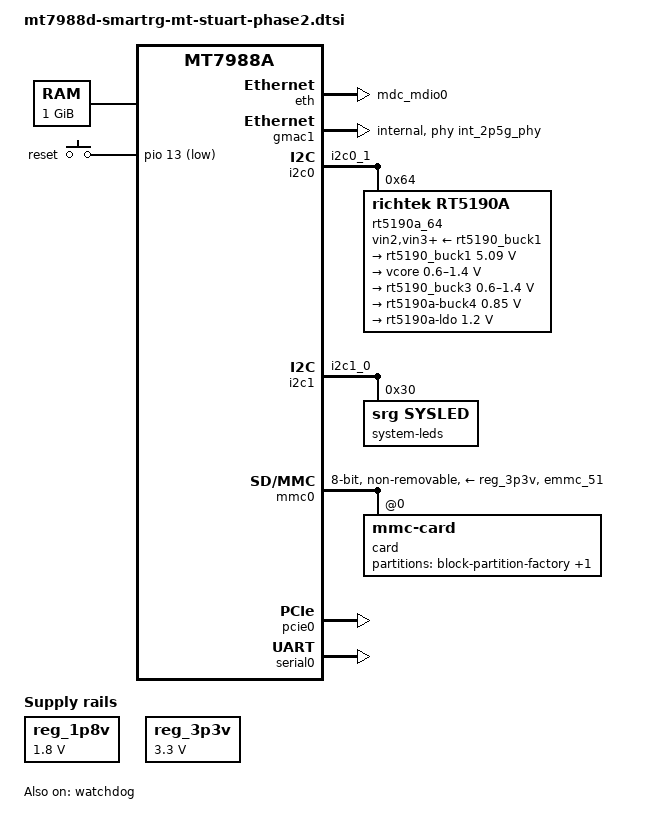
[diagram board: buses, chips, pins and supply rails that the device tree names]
// SPDX-License-Identifier: (GPL-2.0 OR MIT)
/*
 * Copyright (C) 2024 SmartRG Inc.
 * Author: Chad Monroe <chad.monroe@smartrg.com>
 */

/dts-v1/;
#include "mt7988a.dtsi"
#include <dt-bindings/gpio/gpio.h>
#include <dt-bindings/input/input.h>
#include <dt-bindings/leds/common.h>
#include <dt-bindings/pinctrl/mt65xx.h>
#include <dt-bindings/regulator/richtek,rt5190a-regulator.h>

/ {
	aliases {
		serial0 = &serial0;
		label-mac-device = &gmac1;
		led-boot = &led_sys_green;
		led-failsafe = &led_sys_blue;
		led-running = &led_sys_white;
		led-upgrade = &led_sys_red;
	};

	chosen {
		bootargs = "console=ttyS0,115200n1 earlycon=uart8250,mmio32,0x11000000";
		stdout-path = "serial0:115200n8";
		linux,usable-memory-range = <0x0 0x40000000 0x0 0x3fc00000>;
	};

	cpus {
		/delete-node/cpu@3;
	};

	memory@40000000 {
		reg = <0x0 0x40000000 0x0 0x40000000>;
		device_type = "memory";
	};

	reserved-memory {
		#address-cells = <2>;
		#size-cells = <2>;
		ranges;

		/delete-node/ramoops@42ff0000;

		bootdata_reserved: bootdata@45000000 {
			no-map;
			reg = <0x0 0x45000000 0x0 0x00001000>;
		};

		ramoops_reserved: ramoops@45001000 {
			no-map;
			compatible = "ramoops";
			reg = <0x0 0x45001000 0x0 0x00140000>;
			ftrace-size = <0x20000>;
			record-size = <0x20000>;
			console-size = <0x20000>;
			pmsg-size = <0x80000>;
		};
	};

	bootdata {
		compatible = "bootdata";
		memory-region = <&bootdata_reserved>;
	};

	reg_1p8v: regulator-1p8v {
		compatible = "regulator-fixed";
		regulator-name = "fixed-1.8V";
		regulator-min-microvolt = <1800000>;
		regulator-max-microvolt = <1800000>;
		regulator-boot-on;
		regulator-always-on;
	};

	reg_3p3v: regulator-3p3v {
		compatible = "regulator-fixed";
		regulator-name = "fixed-3.3V";
		regulator-min-microvolt = <3300000>;
		regulator-max-microvolt = <3300000>;
		regulator-boot-on;
		regulator-always-on;
	};

	gpio-keys {
		compatible = "gpio-keys";
		pinctrl-names = "default";
		pinctrl-0 = <&button_pins>;

		button-reset {
			label = "reset";
			linux,code = <KEY_RESTART>;
			gpios = <&pio 13 GPIO_ACTIVE_LOW>;
		};
	};
};

&cpu0 {
	proc-supply = <&rt5190_buck3>;
};

&cpu1 {
	proc-supply = <&rt5190_buck3>;
};

&cpu2 {
	proc-supply = <&rt5190_buck3>;
};

&cci {
	proc-supply = <&rt5190_buck3>;
};

&eth {
	pinctrl-0 = <&mdio0_pins>;
	pinctrl-names = "default";
	status = "okay";
};

&gmac1 {
	nvmem-cells = <&macaddr 0x1>;
	nvmem-cell-names = "mac-address";
	label = "wan";
	phy-mode = "internal";
	phy = <&int_2p5g_phy>;

	status = "okay";
};

&int_2p5g_phy {
	pinctrl-names = "i2p5gbe-led";
	pinctrl-0 = <&gbe1_led0_pins>;
};

&i2c0 {
	pinctrl-names = "default";
	pinctrl-0 = <&i2c0_pins>;
	status = "okay";

	rt5190a_64: rt5190a@64 {
		compatible = "richtek,rt5190a";
		reg = <0x64>;
		/*interrupts-extended = <&gpio26 0 IRQ_TYPE_LEVEL_LOW>;*/
		vin2-supply = <&rt5190_buck1>;
		vin3-supply = <&rt5190_buck1>;
		vin4-supply = <&rt5190_buck1>;

		regulators {
			rt5190_buck1: buck1 {
				regulator-name = "rt5190a-buck1";
				regulator-min-microvolt = <5090000>;
				regulator-max-microvolt = <5090000>;
				regulator-allowed-modes =
				<RT5190A_OPMODE_AUTO RT5190A_OPMODE_FPWM>;
				regulator-boot-on;
				regulator-always-on;
			};
			buck2 {
				regulator-name = "vcore";
				regulator-min-microvolt = <600000>;
				regulator-max-microvolt = <1400000>;
				regulator-boot-on;
				regulator-always-on;
			};
			rt5190_buck3: buck3 {
				regulator-name = "vproc";
				regulator-min-microvolt = <600000>;
				regulator-max-microvolt = <1400000>;
				regulator-boot-on;
				regulator-always-on; /* FIXME: need this for some reason to keep regulator on */
			};
			buck4 {
				regulator-name = "rt5190a-buck4";
				regulator-min-microvolt = <850000>;
				regulator-max-microvolt = <850000>;
				regulator-allowed-modes =
				<RT5190A_OPMODE_AUTO RT5190A_OPMODE_FPWM>;
				regulator-boot-on;
				regulator-always-on;
			};
			ldo {
				regulator-name = "rt5190a-ldo";
				regulator-min-microvolt = <1200000>;
				regulator-max-microvolt = <1200000>;
				regulator-boot-on;
				regulator-always-on;
			};
		};
	};
};

&i2c1 {
	pinctrl-names = "default";
	pinctrl-0 = <&i2c1_pins>;
	status = "okay";

	system-leds@30 {
		compatible = "srg,sysled";
		reg = <0x30>;
		#address-cells = <1>;
		#size-cells = <0>;

		led_sys_red: system_red {
			label = "red";
			reg = <1>;
		};

		led_sys_green: system_green {
			label = "green";
			reg = <2>;
		};

		led_sys_blue: system_blue {
			label = "blue";
			reg = <3>;
		};

		led_sys_white: system_white {
			label = "white";
			reg = <4>;
		};
	};
};

&mmc0 {
	pinctrl-names = "default", "state_uhs";
	pinctrl-0 = <&mmc0_pins_emmc_51>;
	pinctrl-1 = <&mmc0_pins_emmc_51>;
	bus-width = <8>;
	max-frequency = <200000000>;
	cap-mmc-highspeed;
	mmc-hs200-1_8v;
	vmmc-supply = <&reg_3p3v>;
	vqmmc-supply = <&reg_1p8v>;
	non-removable;
	no-sd;
	no-sdio;
	status = "okay";
	#address-cells = <1>;
	#size-cells = <0>;

	card@0 {
		#address-cells = <0>;
		#size-cells = <0>;
		compatible = "mmc-card";
		reg = <0>;

		block {
			compatible = "block-device";

			partitions {
				block-partition-factory {
					partname = "factory";

					nvmem-layout {
						compatible = "fixed-layout";
						#address-cells = <1>;
						#size-cells = <1>;

						eeprom_factory_0: eeprom@0 {
							reg = <0x0 0x1e00>;
						};

						precal_factory_1e10: precal@1e10 {
							reg = <0x1e10 0xedfd0>;
						};
					};
				};

				block-partition-mfginfo {
					partname = "mfginfo";

					nvmem-layout {
						compatible = "adtran,mfginfo";

						macaddr: mfg-mac {
							#nvmem-cell-cells = <1>;
						};
					};
				};
			};
		};
	};
};

&pcie0 {
	pinctrl-names = "default";
	pinctrl-0 = <&pcie0_pins>;
	status = "okay";

	pcie@0,0 {
		#address-cells = <3>;
		#size-cells = <2>;
		reg = <0x0000 0 0 0 0>;

		radio0: mt7996@0,0 {
			reg = <0x0000 0 0 0 0>;
			#address-cells = <1>;
			#size-cells = <0>;
			nvmem-cells = <&eeprom_factory_0>, <&precal_factory_1e10>;
			nvmem-cell-names = "eeprom", "precal";

			band@0 {
				/* 2.4 GHz */
				reg = <0>;
				nvmem-cells = <&macaddr 0x4>;
				nvmem-cell-names = "mac-address";
			};

			band@1 {
				/* 5 GHz */
				reg = <1>;
				nvmem-cells = <&macaddr 0xa>;
				nvmem-cell-names = "mac-address";
			};

			band@2 {
				/* 6 GHz */
				reg = <2>;
				nvmem-cells = <&macaddr 0x6>;
				nvmem-cell-names = "mac-address";
			};
		};
	};
};

&pio {
	button_pins: button-pins {
		pins = "GPIO_RESET";
		bias-disable;
	};

	gbe1_led0_pins: gbe1-led0-pins {
		mux {
			function = "led";
			groups = "gbe1_led0";
		};
	};

	i2c0_pins: i2c0-g0-pins {
		mux {
			function = "i2c";
			groups = "i2c0_1";
		};
	};

	i2c1_pins: i2c1-g0-pins {
		mux {
			function = "i2c";
			groups = "i2c1_0";
		};
	};

	mdio0_pins: mdio0-pins {
		mux {
			function = "eth";
			groups = "mdc_mdio0";
		};

		conf {
			groups = "mdc_mdio0";
			drive-strength = <MTK_DRIVE_8mA>;
		};
	};

	mmc0_pins_emmc_51: mmc0-emmc-51-pins {
		mux {
			function = "flash";
			groups = "emmc_51";
		};
	};

	pcie3_1_pins: pcie3-pins-g1 {
		mux {
			function = "pcie";
			groups = "pcie_1l_1_pereset", "pcie_clk_req_n3";
		};
	};
};

&switch {
	status = "disabled";
};

&serial0 {
	status = "okay";
};

&watchdog {
	status = "okay";
};
